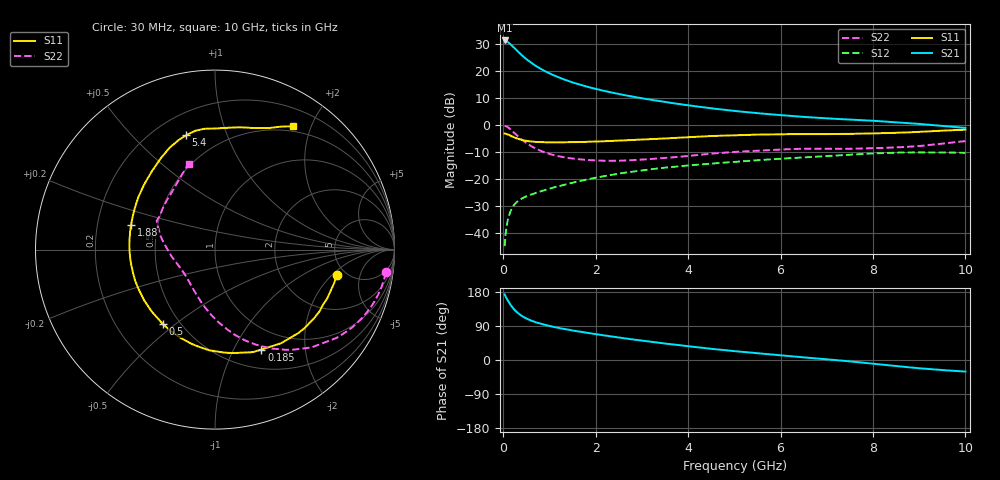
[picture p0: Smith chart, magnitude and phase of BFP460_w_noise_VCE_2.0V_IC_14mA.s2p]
! (c) 2016  Infineon Technologies AG, Munich
! Infineon Technologies  Discrete & RF Semiconductors
! BFP460
! VCE =  2.0 V,  IC =  14 mA
! Common Emitter S-Parameters:  Jan 2016
# GHz  S  MA  R  50
!  f  S11  S21  S12  S22
! GHz  MAG  ANG  MAG  ANG  MAG  ANG  MAG  ANG
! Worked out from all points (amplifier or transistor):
!   229 points, 30 MHz to 10 GHz, reference 50 ohm
!   highest |S21| = 31.2 dB at 30 MHz (marker M1)
!   |S21| within 3 dB of that: start of sweep to 253.3 MHz
!   unconditionally stable (mu >= 1): 2.106 GHz to 7.949 GHz
!   at 280 MHz: K = 0.34, MSG = 28.3 dB, |S12| = -28.8 dB
!   at 1.78 GHz: K = 0.97, MSG = 17.3 dB, |S12| = -20.3 dB
!   at 10 GHz: K = 0.98, MSG = 4.6 dB, |S12| = -10.3 dB
!   lowest NFmin = 1.09 dB at 450 MHz
!   S11 on the Smith chart (normalised r, x): 30 MHz: 4.21, -2.29; 185 MHz: 0.72, -1.29; 500 MHz: 0.40, -0.45; 1.88 GHz: 0.35, +0.12; 5.4 GHz: 0.32, +0.73; 10 GHz: 0.43, +1.74
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0.03  0.693 -11.8  36.41 173.1  0.0057 84.5  0.9608 -7.6
0.05  0.6841 -19.5  35.8 167.4  0.0093 80.9  0.9505 -12.8
0.07  0.6757 -27.1  35.4 162.9  0.0126 77.2  0.935 -17.9
0.12  0.6573 -45.0  33.04 152.5  0.0204 70.5  0.8783 -29.6
0.15  0.6383 -54.9  31.38 146.8  0.0243 66.4  0.8369 -36.0
0.185  0.6137 -65.1  29.39 141.1  0.0282 62.5  0.7848 -42.4
0.26  0.577 -84.5  25.44 130.3  0.035 56.6  0.6844 -54.7
0.34  0.5461 -101.0  21.76 121.7  0.0402 52.5  0.5919 -64.9
0.4  0.5278 -111.2  19.47 116.3  0.0433 50.5  0.5353 -71.4
0.5  0.5066 -124.9  16.43 109.6  0.0476 48.8  0.4613 -80.0
0.6  0.4932 -135.8  14.14 104.1  0.0514 48.1  0.4064 -87.1
0.7  0.4854 -144.6  12.37 99.7  0.0551 48.1  0.3653 -93.2
0.9  0.4776 -158.2  9.87 92.7  0.0623 48.5  0.3095 -103.2
1.3  0.4757 -177.1  6.991 82.3  0.0774 49.5  0.253 -118.2
1.7  0.4822 169.3  5.41 73.9  0.0931 49.5  0.2281 -129.8
1.88  0.4869 163.9  4.913 70.5  0.1004 49.1  0.2224 -134.4
3.4  0.5549 130.5  2.728 45.1  0.1581 40.4  0.2407 -169.2
5.1  0.6468 107.2  1.775 22.4  0.2095 29.2  0.3193 164.2
5.4  0.6564 104.2  1.676 19.0  0.2188 27.3  0.3285 161.5
6.8  0.6744 92.2  1.351 3.9  0.2585 17.8  0.3612 152.6
8.4  0.7082 73.2  1.132 -14.7  0.3048 4.1  0.3797 136.7
10  0.8137 57.6  0.878 -30.5  0.3047 -8.3  0.5001 107.1
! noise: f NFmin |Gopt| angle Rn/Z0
0.45  1.09  0.04  41  0.14
1.9  1.24  0.11  -165  0.12
3.5  1.23  0.36  -131  0.13
